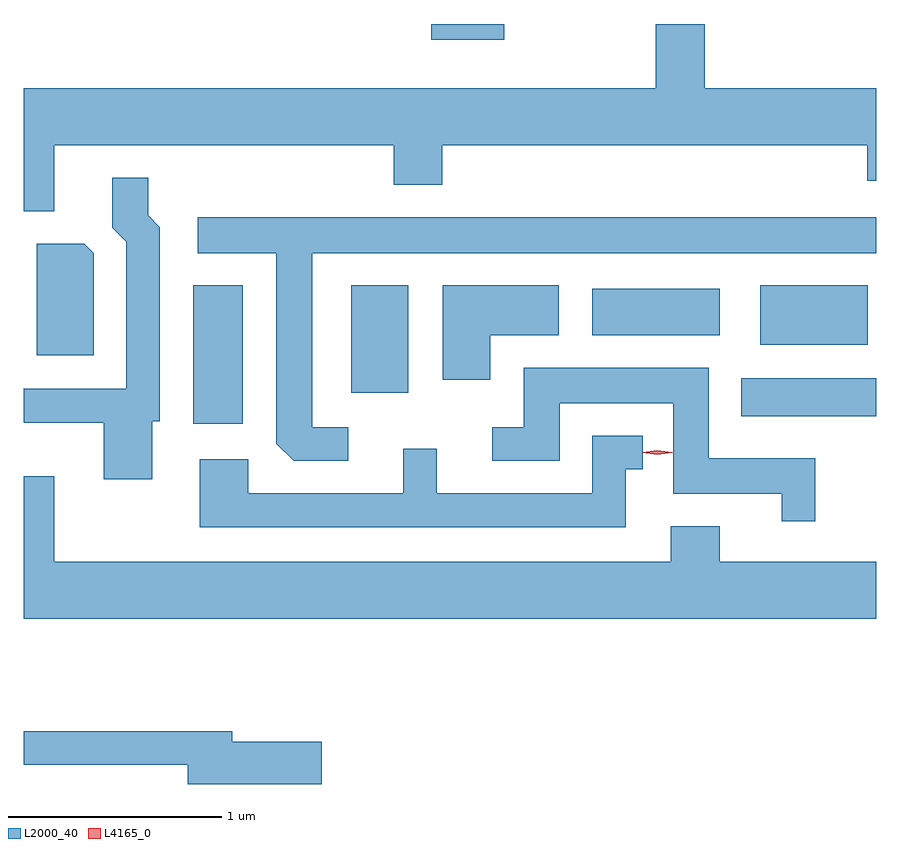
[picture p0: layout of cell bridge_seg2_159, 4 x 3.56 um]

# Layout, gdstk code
import gdstk
lib = gdstk.Library(unit=1e-6, precision=1e-09)
def R(c, l, rs):  # rectangles x0, y0, x1, y1
    for r in rs: c.add(gdstk.rectangle(r[:2], r[2:], *l))
def P(c, l, *ps):  # polygons
    for p in ps: c.add(gdstk.Polygon(p, *l))
L2000_40 = (2000, 40)
L4165_0 = (4165, 0)

bridge_seg2_159 = lib.new_cell('bridge_seg2_159')
R(bridge_seg2_159, L2000_40, [(682.971,1084.751,683.204,1085.399), (685.541,1084.786,686.175,1084.964), (683.711,1084.896,683.979,1085.399), (685.631,1085.121,686.134,1085.399), (684.841,1085.166,685.439,1085.384), (684.086,1086.551,684.429,1086.625)])
P(bridge_seg2_159, L2000_40, [(685.369,1086.625),(685.141,1086.625),(685.141,1086.324),(682.175,1086.324),(682.175,1085.746),(682.319,1085.746),(682.319,1086.056),(683.911,1086.056),(683.911,1085.871),(684.139,1085.871),(684.139,1086.056),(686.131,1086.056),(686.131,1085.891),(686.175,1085.891),(686.175,1086.324),(685.369,1086.324)],
  [(682.779,1084.761),(682.814,1084.761),(682.814,1085.672),(682.759,1085.727),(682.759,1085.903),(682.591,1085.903),(682.591,1085.669),(682.656,1085.604),(682.656,1084.914),(682.177,1084.914),(682.175,1084.916),(682.175,1084.756),(682.551,1084.756),(682.551,1084.491),(682.779,1084.491)],
  [(683.698,1084.734),(683.529,1084.734),(683.529,1085.551),(686.175,1085.551),(686.175,1085.719),(682.993,1085.719),(682.993,1085.551),(683.361,1085.551),(683.361,1084.657),(683.442,1084.576),(683.698,1084.576)],
  [(682.504,1085.549),(682.459,1085.594),(682.236,1085.594),(682.236,1085.071),(682.504,1085.071)],
  [(684.364,1085.166),(684.684,1085.166),(684.684,1085.399),(684.141,1085.399),(684.141,1084.956),(684.364,1084.956)],
  [(685.889,1084.589),(685.389,1084.589),(685.389,1085.014),(684.521,1085.014),(684.521,1084.734),(684.373,1084.734),(684.373,1084.576),(684.689,1084.576),(684.689,1084.846),(685.221,1084.846),(685.221,1084.421),(685.731,1084.421),(685.731,1084.293),(685.889,1084.293)],
  [(684.999,1084.536),(685.078,1084.536),(685.078,1084.694),(684.841,1084.694),(684.841,1084.424),(684.114,1084.424),(684.114,1084.633),(683.956,1084.633),(683.956,1084.424),(683.229,1084.424),(683.229,1084.584),(683.001,1084.584),(683.001,1084.266),(684.999,1084.266)],
  [(686.175,1084.104),(685.439,1084.104),(685.439,1084.269),(685.211,1084.269),(685.211,1084.104),(682.319,1084.104),(682.319,1084.504),(682.175,1084.504),(682.175,1083.836),(686.175,1083.836)],
  [(683.574,1083.259),(683.154,1083.259),(683.154,1083.309),(682.175,1083.309),(682.175,1083.151),(682.946,1083.151),(682.946,1083.061),(683.574,1083.061)])
P(bridge_seg2_159, L4165_0, [(685.148,1084.606),(685.079,1084.614),(685.079,1084.615),(685.079,1084.616),(685.148,1084.625),(685.218,1084.616),(685.218,1084.616),(685.218,1084.615)])

lib.write_gds('bridge_seg2_159.gds')
